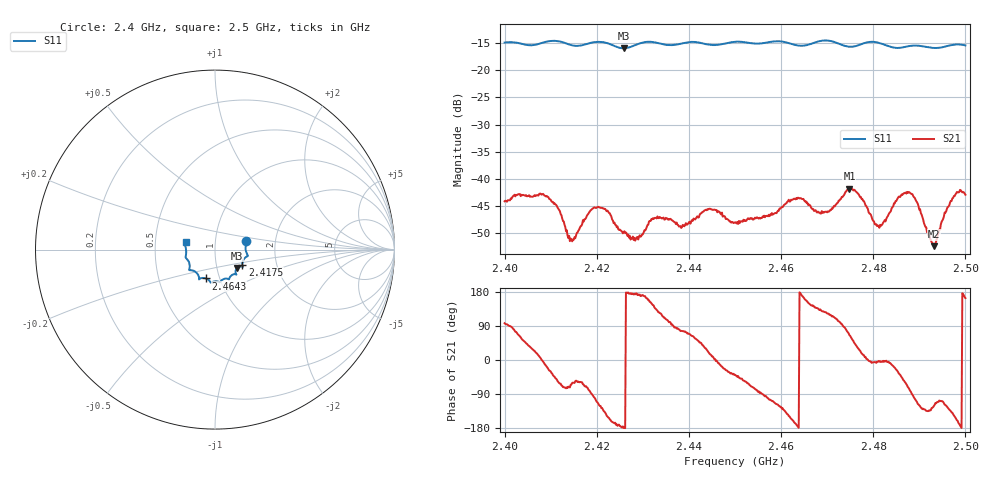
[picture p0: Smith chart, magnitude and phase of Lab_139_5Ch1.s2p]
# Hz S RI R 50
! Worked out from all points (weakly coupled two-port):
!   601 points, 2.4 GHz to 2.5 GHz, reference 50 ohm
!   highest |S21| = -41.79 dB at 2.4748 GHz (marker M1); lowest = -52.4 dB at 2.4932 GHz (marker M2)
!   lowest |S11| = -15.9 dB at 2.4258 GHz (marker M3), VSWR 1.38, Z = 62.3 - j13.2 ohm
!   |S11| at or under -10 dB: start of sweep to end of sweep
!   S12 and S22 are empty: the file has one direction only
!   S11 on the Smith chart (normalised r, x): 2.4 GHz: 1.41, +0.14; 2.4175 GHz: 1.33, -0.23; 2.4643 GHz: 0.86, -0.28; 2.5 GHz: 0.72, +0.06
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2.4e9  0.1736 0.049  -0.000769 0.00617  0 0  0 0
2.408e9  0.1772 -0.0206  0.00716 0.000108  0 0  0 0
2.4115e9  0.1824 -0.036  0.00305 -0.00449  0 0  0 0
2.414167e9  0.1656 -0.0474  0.000804 -0.00254  0 0  0 0
2.416667e9  0.1527 -0.0741  0.00191 -0.00316  0 0  0 0
2.4175e9  0.1517 -0.0836  0.00146 -0.004  0 0  0 0
2.421333e9  0.1541 -0.0967  -0.00347 -0.00405  0 0  0 0
2.425833e9  0.122 -0.1031  -0.00323 -2.92e-05  0 0  0 0
2.4285e9  0.1146 -0.128  -0.00278 0.0002  0 0  0 0
2.433333e9  0.1133 -0.137  -0.00259 0.00349  0 0  0 0
2.4385e9  0.081 -0.1572  0.000846 0.00349  0 0  0 0
2.4445e9  0.06 -0.1612  0.00509 0.00148  0 0  0 0
2.45e9  0.0285 -0.1812  0.00309 -0.00249  0 0  0 0
2.464333e9  -0.0502 -0.1608  -0.00657 0.000724  0 0  0 0
2.466667e9  -0.0764 -0.1588  -0.00431 0.00316  0 0  0 0
2.474833e9  -0.1044 -0.1278  0.00337 0.00741  0 0  0 0
2.480833e9  -0.1436 -0.1102  0.00365 -0.000319  0 0  0 0
2.483333e9  -0.1408 -0.0898  0.00469 -0.000383  0 0  0 0
2.488167e9  -0.1611 -0.0484  0.000782 -0.00728  0 0  0 0
2.493167e9  -0.1603 -0.0119  -0.00124 -0.00205  0 0  0 0
2.497167e9  -0.1692 0.0284  -0.005 -0.00432  0 0  0 0
2.5e9  -0.1643 0.0427  -0.00684 0.00204  0 0  0 0
